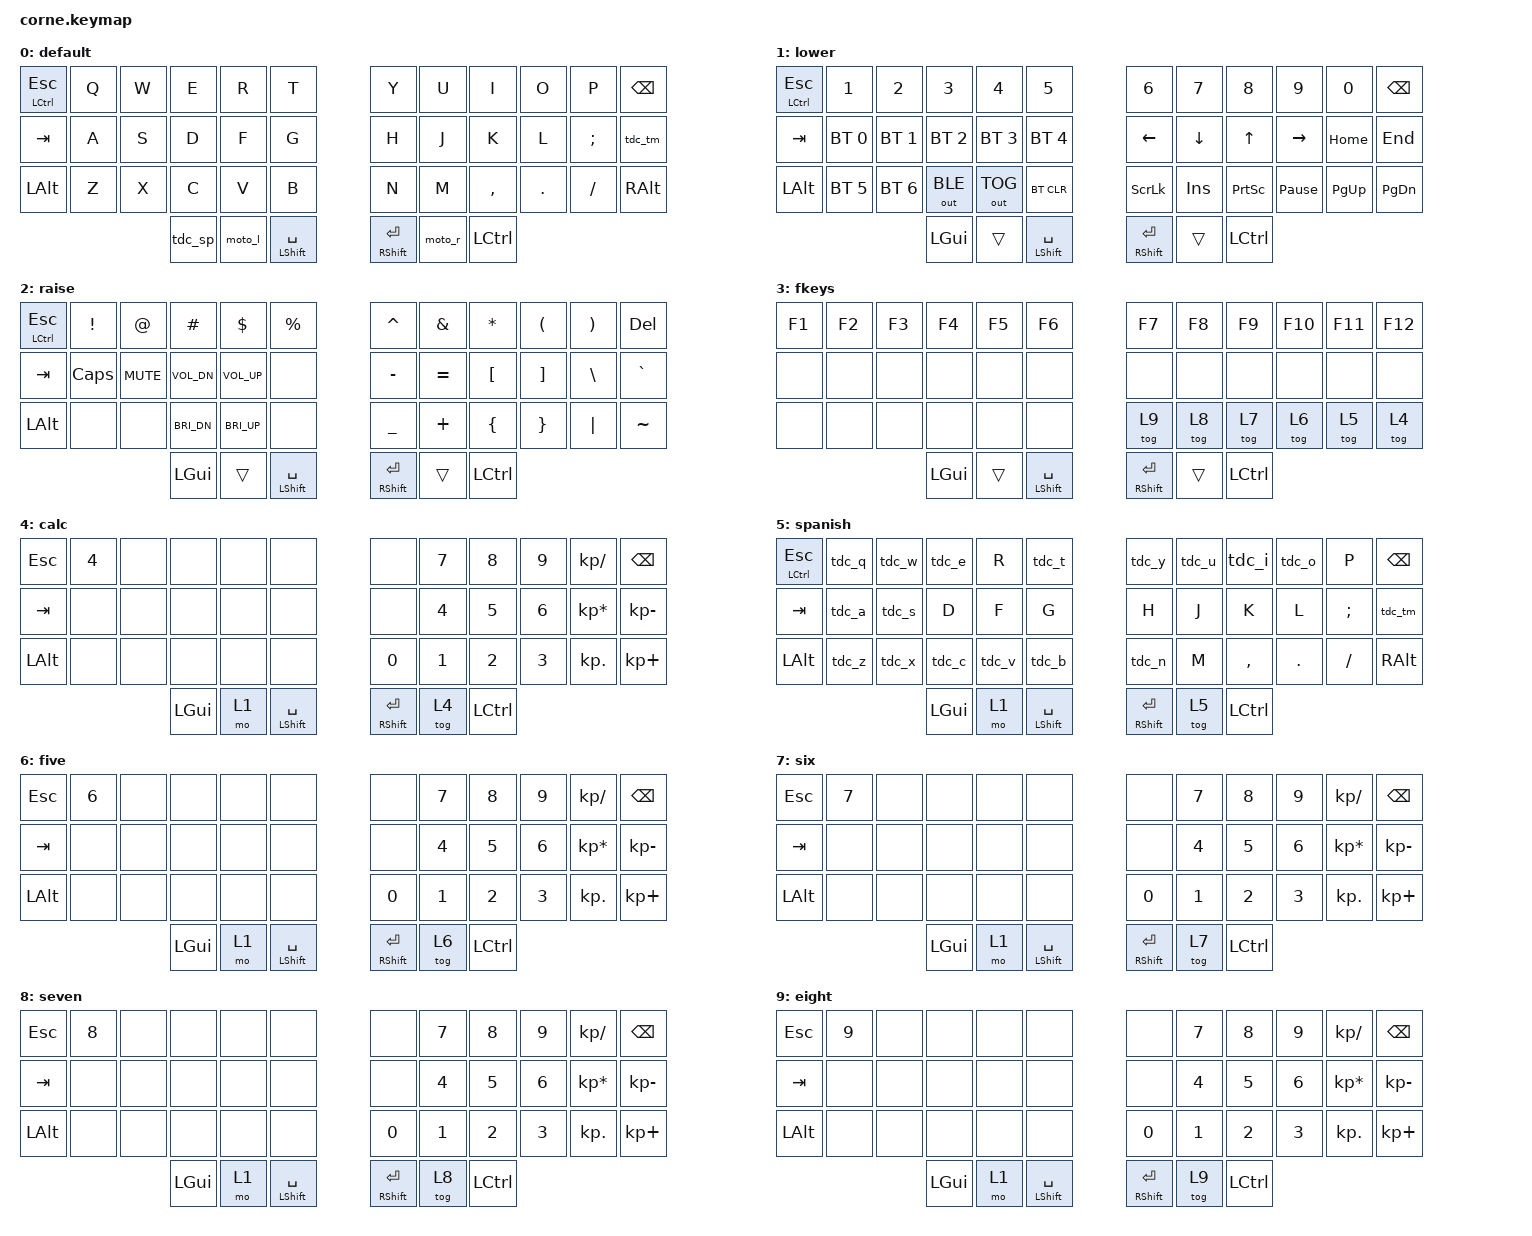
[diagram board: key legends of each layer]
/*
 * Copyright (c) 2020 The ZMK Contributors
 *
 * SPDX-License-Identifier: MIT
 */

#include <behaviors.dtsi>
#include <dt-bindings/zmk/keys.h>
#include <dt-bindings/zmk/bt.h>
#include <dt-bindings/zmk/outputs.h>

/ {
    macros {
        zed_q: zed_q {
            compatible = "zmk,behavior-macro";
            #binding-cells = <0>;
            wait-ms = <40>;
            tap-ms = <40>; 
            bindings
                = <&macro_press   &kp LALT>
                , <&macro_tap     &kp F4>
                , <&macro_release &kp LALT>
                ;
        };
        
        zed_w: zed_w {
            compatible = "zmk,behavior-macro";
            #binding-cells = <0>;
            wait-ms = <40>;
            tap-ms = <40>;
            bindings
                = <&macro_press   &kp LCTRL>
                , <&macro_tap     &kp W>
                , <&macro_release &kp LCTRL>
                ;
        };

        zed_t: zed_t {
            compatible = "zmk,behavior-macro";
            #binding-cells = <0>;
            wait-ms = <40>;
            tap-ms = <40>;
            bindings
                = <&macro_press   &kp LCTRL>
                , <&macro_tap     &kp T>
                , <&macro_release &kp LCTRL>
                ;
        };

        zed_s: zed_s {
            compatible = "zmk,behavior-macro";
            #binding-cells = <0>;
            wait-ms = <40>;
            tap-ms = <40>;
            bindings
                = <&macro_press   &kp LCTRL>
                , <&macro_tap     &kp S>
                , <&macro_release &kp LCTRL>
                ;
        };

        zed_z: zed_z {
            compatible = "zmk,behavior-macro";
            #binding-cells = <0>;
            wait-ms = <40>;
            tap-ms = <40>;
            bindings
                = <&macro_press   &kp LCTRL>
                , <&macro_tap     &kp Z>
                , <&macro_release &kp LCTRL>
                ;
        };

        zed_x: zed_x {
            compatible = "zmk,behavior-macro";
            #binding-cells = <0>;
            wait-ms = <40>;
            tap-ms = <40>;
            bindings
                = <&macro_press   &kp LCTRL>
                , <&macro_tap     &kp X>
                , <&macro_release &kp LCTRL>
                ;
        };

        zed_c: zed_c {
            compatible = "zmk,behavior-macro";
            #binding-cells = <0>;
            wait-ms = <40>;
            tap-ms = <40>;
            bindings
                = <&macro_press   &kp LCTRL>
                , <&macro_tap     &kp C>
                , <&macro_release &kp LCTRL>
                ;
        };

        zed_v: zed_v {
            compatible = "zmk,behavior-macro";
            #binding-cells = <0>;
            wait-ms = <40>;
            tap-ms = <40>;
            bindings
                = <&macro_press   &kp LCTRL>
                , <&macro_tap     &kp V>
                , <&macro_release &kp LCTRL>
                ;
        };

        zed_b: zed_b {
            compatible = "zmk,behavior-macro";
            #binding-cells = <0>;
            wait-ms = <40>;
            tap-ms = <40>;
            bindings
                = <&macro_press   &kp LCTRL>
                , <&macro_tap     &kp B>
                , <&macro_release &kp LCTRL>
                ;
        };

        zed_y: zed_y {
            compatible = "zmk,behavior-macro";
            #binding-cells = <0>;
            wait-ms = <40>;
            tap-ms = <40>;
            bindings
                = <&macro_press   &kp LCTRL>
                , <&macro_tap     &kp Y>
                , <&macro_release &kp LCTRL>
                ;
        };

        zed_n: zed_n {
            compatible = "zmk,behavior-macro";
            #binding-cells = <0>;
            wait-ms = <40>;
            tap-ms = <40>;
            bindings
                = <&macro_press   &kp LALT>
                , <&macro_tap     &kp KP_N1 &kp KP_N6 &kp KP_N4>
                , <&macro_release &kp LALT>
                ;
        };

        zed_a: zed_a {
            compatible = "zmk,behavior-macro";
            #binding-cells = <0>;
            wait-ms = <40>;
            tap-ms = <40>;
            bindings
                = <&macro_press   &kp LALT>
                , <&macro_tap     &kp KP_N1 &kp KP_N6 &kp KP_N0>
                , <&macro_release &kp LALT>
                ;
        };

        zed_e: zed_e {
            compatible = "zmk,behavior-macro";
            #binding-cells = <0>;
            wait-ms = <40>;
            tap-ms = <40>;
            bindings
                = <&macro_press   &kp LALT>
                , <&macro_tap     &kp KP_N1 &kp KP_N3 &kp KP_N0>
                , <&macro_release &kp LALT>
                ;
        };

        zed_i: zed_i {
            compatible = "zmk,behavior-macro";
            #binding-cells = <0>;
            wait-ms = <40>;
            tap-ms = <40>;
            bindings
                = <&macro_press   &kp LALT>
                , <&macro_tap     &kp KP_N1 &kp KP_N6 &kp KP_N1>
                , <&macro_release &kp LALT>
                ;
        };

        zed_o: zed_o {
            compatible = "zmk,behavior-macro";
            #binding-cells = <0>;
            wait-ms = <40>;
            tap-ms = <40>;
            bindings
                = <&macro_press   &kp LALT>
                , <&macro_tap     &kp KP_N1 &kp KP_N6 &kp KP_N2>
                , <&macro_release &kp LALT>
                ;
        };

        zed_u: zed_u {
            compatible = "zmk,behavior-macro";
            #binding-cells = <0>;
            wait-ms = <40>;
            tap-ms = <40>;
            bindings
                = <&macro_press   &kp LALT>
                , <&macro_tap     &kp KP_N1 &kp KP_N6 &kp KP_N3>
                , <&macro_release &kp LALT>
                ;
        };

        zed_tm: zed_tm {
            compatible = "zmk,behavior-macro";
            #binding-cells = <0>;
            wait-ms = <40>;
            tap-ms = <40>;
            bindings
                = <&macro_press   &kp LCTRL &kp LSHIFT>
                , <&macro_tap     &kp GRAVE>
                , <&macro_release &kp LCTRL &kp LSHIFT>
                ;
        };
    };

    behaviors {
        tdc_q: tap_dance_q {
            compatible = "zmk,behavior-tap-dance";
            #binding-cells = <0>;
            tapping-term-ms = <200>;
            bindings = <&kp Q>, <&zed_q>;
        };

        tdc_w: tap_dance_w {
            compatible = "zmk,behavior-tap-dance";
            #binding-cells = <0>;
            tapping-term-ms = <200>;
            bindings = <&kp W>, <&zed_w>;
        };

        tdc_t: tap_dance_t {
            compatible = "zmk,behavior-tap-dance";
            #binding-cells = <0>;
            tapping-term-ms = <200>;
            bindings = <&kp T>, <&zed_t>;
        };

        tdc_s: tap_dance_s {
            compatible = "zmk,behavior-tap-dance";
            #binding-cells = <0>;
            tapping-term-ms = <200>;
            bindings = <&kp S>, <&zed_s>;
        };

        tdc_z: tap_dance_z {
            compatible = "zmk,behavior-tap-dance";
            #binding-cells = <0>;
            tapping-term-ms = <200>;
            bindings = <&kp Z>, <&zed_z>;
        };

        tdc_x: tap_dance_x {
            compatible = "zmk,behavior-tap-dance";
            #binding-cells = <0>;
            tapping-term-ms = <200>;
            bindings = <&kp X>, <&zed_x>;
        };

        tdc_c: tap_dance_c {
            compatible = "zmk,behavior-tap-dance";
            #binding-cells = <0>;
            tapping-term-ms = <200>;
            bindings = <&kp C>, <&zed_c>;
        };

        tdc_v: tap_dance_v {
            compatible = "zmk,behavior-tap-dance";
            #binding-cells = <0>;
            tapping-term-ms = <200>;
            bindings = <&kp V>, <&zed_v>;
        };

        tdc_b: tap_dance_b {
            compatible = "zmk,behavior-tap-dance";
            #binding-cells = <0>;
            tapping-term-ms = <200>;
            bindings = <&kp B>, <&zed_b>;
        };

        tdc_y: tap_dance_y {
            compatible = "zmk,behavior-tap-dance";
            #binding-cells = <0>;
            tapping-term-ms = <200>;
            bindings = <&kp Y>, <&zed_y>;
        };

        tdc_n: tap_dance_n {
            compatible = "zmk,behavior-tap-dance";
            #binding-cells = <0>;
            tapping-term-ms = <200>;
            bindings = <&kp N>, <&zed_n>;
        };

        tdc_a: tap_dance_a {
            compatible = "zmk,behavior-tap-dance";
            #binding-cells = <0>;
            tapping-term-ms = <200>;
            bindings = <&kp A>, <&zed_a>;
        };

        tdc_e: tap_dance_e {
            compatible = "zmk,behavior-tap-dance";
            #binding-cells = <0>;
            tapping-term-ms = <200>;
            bindings = <&kp E>, <&zed_e>;
        };

        tdc_i: tap_dance_i {
            compatible = "zmk,behavior-tap-dance";
            #binding-cells = <0>;
            tapping-term-ms = <200>;
            bindings = <&kp I>, <&zed_i>;
        };

        tdc_o: tap_dance_o {
            compatible = "zmk,behavior-tap-dance";
            #binding-cells = <0>;
            tapping-term-ms = <200>;
            bindings = <&kp O>, <&zed_o>;
        };

        tdc_u: tap_dance_u {
            compatible = "zmk,behavior-tap-dance";
            #binding-cells = <0>;
            tapping-term-ms = <200>;
            bindings = <&kp U>, <&zed_u>;
        };

        tdc_tm: tap_dance_tm {
            compatible = "zmk,behavior-tap-dance";
            #binding-cells = <0>;
            tapping-term-ms = <200>;
            bindings = <&kp SQT>, <&zed_tm>;
        };

        tdc_sp: tap_dance_sp {
            compatible = "zmk,behavior-tap-dance";
            #binding-cells = <0>;
            tapping-term-ms = <200>;
            bindings = <&kp LGUI>, <&kp RGUI>;
        };

        moto_l: mo_to_l {
            compatible = "zmk,behavior-mod-morph";
            #binding-cells = <0>;
            bindings = <&mo 1>, <&tog 1>;
            mods = <(MOD_RSFT)>;
        };

        moto_r: mo_to_r {
            compatible = "zmk,behavior-mod-morph";
            #binding-cells = <0>;
            bindings = <&mo 2>, <&tog 2>;
            mods = <(MOD_LSFT)>;
        };
    };

    keymap {
        compatible = "zmk,keymap";

        default_layer {
            display-name = "default";
            bindings = <
&mt LCTRL ESC  &kp Q  &kp W  &kp E    &kp R    &kp T             /**/  &kp Y             &kp U    &kp I      &kp O    &kp P     &kp BSPC
&kp TAB        &kp A  &kp S  &kp D    &kp F    &kp G             /**/  &kp H             &kp J    &kp K      &kp L    &kp SEMI  &tdc_tm
&kp LALT       &kp Z  &kp X  &kp C    &kp V    &kp B             /**/  &kp N             &kp M    &kp COMMA  &kp DOT  &kp FSLH  &kp RALT
                             &tdc_sp  &moto_l  &mt LSHIFT SPACE  /**/  &mt RSHIFT ENTER  &moto_r  &kp LCTRL
            >;
        };

        lower_layer {
            display-name = "lower";
            bindings = <
&mt LCTRL ESC  &kp N1        &kp N2        &kp N3        &kp N4        &kp N5            /**/  &kp N6            &kp N7    &kp N8     &kp N9           &kp N0     &kp BSPC
&kp TAB        &bt BT_SEL 0  &bt BT_SEL 1  &bt BT_SEL 2  &bt BT_SEL 3  &bt BT_SEL 4      /**/  &kp LEFT          &kp DOWN  &kp UP     &kp RIGHT        &kp HOME   &kp END
&kp LALT       &bt BT_SEL 5  &bt BT_SEL 6  &out OUT_BLE  &out OUT_TOG  &bt BT_CLR        /**/  &kp SLCK          &kp INS   &kp PSCRN  &kp PAUSE_BREAK  &kp PG_UP  &kp PG_DN
                                           &kp LGUI      &trans        &mt LSHIFT SPACE  /**/  &mt RSHIFT ENTER  &trans    &kp LCTRL
            >;
        };

        raise_layer {
            display-name = "raise";
            bindings = <
&mt LCTRL ESC  &kp EXCL  &kp AT      &kp HASH      &kp DLLR      &kp PRCNT         /**/  &kp CARET         &kp AMPS   &kp ASTRK  &kp LPAR  &kp RPAR  &kp DEL
&kp TAB        &kp CLCK  &kp C_MUTE  &kp C_VOL_DN  &kp C_VOL_UP  &none             /**/  &kp MINUS         &kp EQUAL  &kp LBKT   &kp RBKT  &kp BSLH  &kp GRAVE
&kp LALT       &none     &none       &kp C_BRI_DN  &kp C_BRI_UP  &none             /**/  &kp UNDER         &kp PLUS   &kp LBRC   &kp RBRC  &kp PIPE  &kp TILDE
                                     &kp LGUI      &trans        &mt LSHIFT SPACE  /**/  &mt RSHIFT ENTER  &trans     &kp LCTRL
            >;
        };

        both_layer {
            display-name = "fkeys";
            bindings = <
&kp F1  &kp F2  &kp F3  &kp F4    &kp F5  &kp F6            /**/  &kp F7            &kp F8  &kp F9     &kp F10  &kp F11  &kp F12
&none   &none   &none   &none     &none   &none             /**/  &none             &none   &none      &none    &none    &none
&none   &none   &none   &none     &none   &none             /**/  &tog 9            &tog 8  &tog 7     &tog 6   &tog 5   &tog 4
                        &kp LGUI  &trans  &mt LSHIFT SPACE  /**/  &mt RSHIFT ENTER  &trans  &kp LCTRL
            >;
        };

        calc_layer {
            display-name = "calc";
            bindings = <
&kp ESC   &kp N4  &none   &none     &none   &none             /**/  &none             &kp N7  &kp N8  &kp N9  &kp KP_DIVIDE    &kp BSPC 
&kp TAB   &none   &none   &none     &none   &none             /**/  &none             &kp N4  &kp N5  &kp N6  &kp KP_MULTIPLY  &kp KP_MINUS 
&kp LALT  &none   &none   &none     &none   &none             /**/  &kp N0            &kp N1  &kp N2  &kp N3  &kp KP_DOT       &kp KP_PLUS
                          &kp LGUI  &mo 1   &mt LSHIFT SPACE  /**/  &mt RSHIFT ENTER  &tog 4  &kp LCTRL
            >;
        };

        write_layer {
            display-name = "spanish";
            bindings = <
&mt LCTRL ESC  &tdc_q  &tdc_w  &tdc_e    &kp R   &tdc_t            /**/  &tdc_y            &tdc_u   &tdc_i     &tdc_o   &kp P     &kp BSPC
&kp TAB        &tdc_a  &tdc_s  &kp D     &kp F   &kp G             /**/  &kp H             &kp J    &kp K      &kp L    &kp SEMI  &tdc_tm
&kp LALT       &tdc_z  &tdc_x  &tdc_c    &tdc_v  &tdc_b            /**/  &tdc_n            &kp M    &kp COMMA  &kp DOT  &kp FSLH  &kp RALT
                               &kp LGUI  &mo 1   &mt LSHIFT SPACE  /**/  &mt RSHIFT ENTER  &tog 5   &kp LCTRL
            >;
        };

        five_layer {
            display-name = "five";
            bindings = <
&kp ESC   &kp N6  &none   &none     &none  &none             /**/  &none             &kp N7  &kp N8  &kp N9  &kp KP_DIVIDE    &kp BSPC 
&kp TAB   &none   &none   &none     &none  &none             /**/  &none             &kp N4  &kp N5  &kp N6  &kp KP_MULTIPLY  &kp KP_MINUS 
&kp LALT  &none   &none   &none     &none  &none             /**/  &kp N0            &kp N1  &kp N2  &kp N3  &kp KP_DOT       &kp KP_PLUS
                          &kp LGUI  &mo 1  &mt LSHIFT SPACE  /**/  &mt RSHIFT ENTER  &tog 6  &kp LCTRL
            >;
        };

        six_layer: six {
            display-name = "six";
            bindings = <
&kp ESC   &kp N7  &none   &none     &none   &none             /**/  &none             &kp N7  &kp N8  &kp N9  &kp KP_DIVIDE    &kp BSPC 
&kp TAB   &none   &none   &none     &none   &none             /**/  &none             &kp N4  &kp N5  &kp N6  &kp KP_MULTIPLY  &kp KP_MINUS 
&kp LALT  &none   &none   &none     &none   &none             /**/  &kp N0            &kp N1  &kp N2  &kp N3  &kp KP_DOT       &kp KP_PLUS
                          &kp LGUI  &mo 1   &mt LSHIFT SPACE  /**/  &mt RSHIFT ENTER  &tog 7  &kp LCTRL
            >;
        };

        seven_layer{
            display-name = "seven";
            bindings = <
&kp ESC   &kp N8  &none   &none     &none   &none             /**/  &none             &kp N7  &kp N8  &kp N9  &kp KP_DIVIDE    &kp BSPC 
&kp TAB   &none   &none   &none     &none   &none             /**/  &none             &kp N4  &kp N5  &kp N6  &kp KP_MULTIPLY  &kp KP_MINUS 
&kp LALT  &none   &none   &none     &none   &none             /**/  &kp N0            &kp N1  &kp N2  &kp N3  &kp KP_DOT       &kp KP_PLUS
                          &kp LGUI  &mo 1   &mt LSHIFT SPACE  /**/  &mt RSHIFT ENTER  &tog 8  &kp LCTRL
            >;
        };

        eight_layer {
            display-name = "eight";
            bindings = <
&kp ESC   &kp N9  &none   &none     &none   &none             /**/  &none             &kp N7  &kp N8  &kp N9  &kp KP_DIVIDE    &kp BSPC 
&kp TAB   &none   &none   &none     &none   &none             /**/  &none             &kp N4  &kp N5  &kp N6  &kp KP_MULTIPLY  &kp KP_MINUS 
&kp LALT  &none   &none   &none     &none   &none             /**/  &kp N0            &kp N1  &kp N2  &kp N3  &kp KP_DOT       &kp KP_PLUS
                          &kp LGUI  &mo 1   &mt LSHIFT SPACE  /**/  &mt RSHIFT ENTER  &tog 9  &kp LCTRL
            >;
        };

    };

    conditional_layers {
        compatible = "zmk,conditional-layers";

        both {
            if-layers = <1 2>;
            then-layer = <3>;
        };
    };
};
